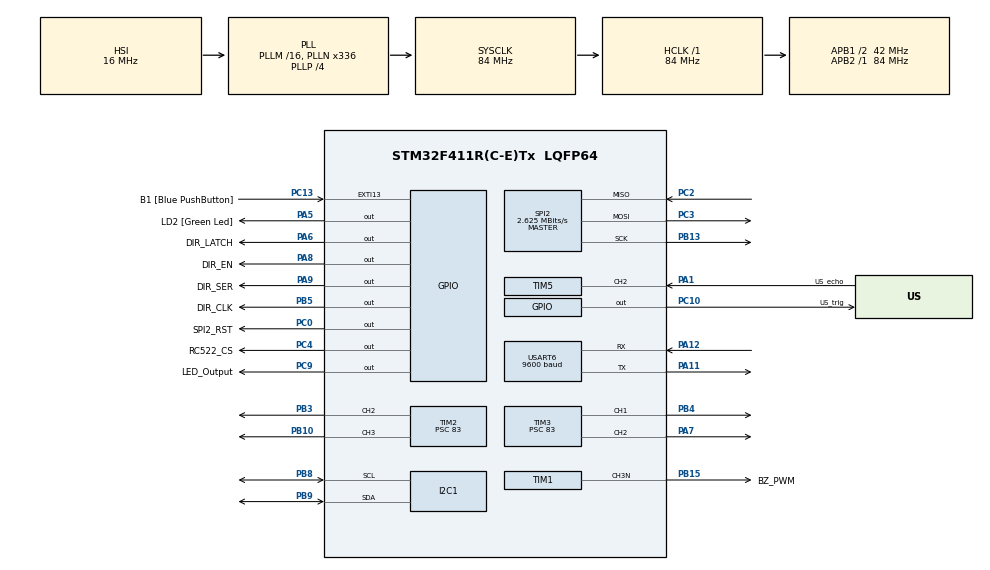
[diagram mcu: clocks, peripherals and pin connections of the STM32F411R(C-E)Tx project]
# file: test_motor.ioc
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Mcu.Family=STM32F4
Mcu.Name=STM32F411R(C-E)Tx
Mcu.Package=LQFP64
NVIC.PriorityGroup=NVIC_PRIORITYGROUP_0
NVIC.TIM2_IRQn=true\:0\:0\:false\:false\:true\:true\:true\:true
NVIC.TIM3_IRQn=true\:0\:0\:false\:false\:true\:true\:true\:true
NVIC.TIM5_IRQn=true\:0\:0\:false\:false\:true\:true\:true\:true
NVIC.USART6_IRQn=true\:0\:0\:false\:false\:true\:true\:true\:true
PA1.GPIO_Label=US_echo
PA1.Signal=S_TIM5_CH2
PA11.Mode=Asynchronous
PA11.Signal=USART6_TX
PA12.Mode=Asynchronous
PA12.Signal=USART6_RX
PA13.GPIO_Label=TMS
PA13.Mode=Serial_Wire
PA13.Signal=SYS_JTMS-SWDIO
PA14.GPIO_Label=TCK
PA14.Mode=Serial_Wire
PA14.Signal=SYS_JTCK-SWCLK
PA5.GPIO_Label=LD2 [Green Led]
PA5.Signal=GPIO_Output
PA6.GPIO_Label=DIR_LATCH
PA6.Signal=GPIO_Output
PA7.Signal=S_TIM3_CH2
PA8.GPIO_Label=DIR_EN
PA8.Signal=GPIO_Output
PA9.GPIO_Label=DIR_SER
PA9.Signal=GPIO_Output
PB10.Signal=S_TIM2_CH3
PB13.Mode=Full_Duplex_Master
PB13.Signal=SPI2_SCK
PB15.GPIO_Label=BZ_PWM
PB15.Mode=PWM Generation3 CH3N
PB15.Signal=TIM1_CH3N
PB3.Signal=S_TIM2_CH2
PB4.Signal=S_TIM3_CH1
PB5.GPIO_Label=DIR_CLK
PB5.Signal=GPIO_Output
PB8.Mode=I2C
PB8.Signal=I2C1_SCL
PB9.Mode=I2C
PB9.Signal=I2C1_SDA
PC0.GPIO_Label=SPI2_RST
PC0.Signal=GPIO_Output
PC10.GPIO_Label=US_trig
PC10.Signal=GPIO_Output
PC13-ANTI_TAMP.GPIO_Label=B1 [Blue PushButton]
PC13-ANTI_TAMP.GPIO_ModeDefaultEXTI=GPIO_MODE_IT_FALLING
PC13-ANTI_TAMP.Signal=GPXTI13
PC14-OSC32_IN.Mode=LSE-External-Oscillator
PC14-OSC32_IN.Signal=RCC_OSC32_IN
PC15-OSC32_OUT.Mode=LSE-External-Oscillator
PC15-OSC32_OUT.Signal=RCC_OSC32_OUT
PC2.Mode=Full_Duplex_Master
PC2.Signal=SPI2_MISO
PC3.Mode=Full_Duplex_Master
PC3.Signal=SPI2_MOSI
PC4.GPIO_Label=RC522_CS
PC4.Signal=GPIO_Output
PC9.GPIO_Label=LED_Output
PC9.Signal=GPIO_Output
PH0\ -\ OSC_IN.Mode=HSE-External-Clock-Source
PH0\ -\ OSC_IN.Signal=RCC_OSC_IN
PH1\ -\ OSC_OUT.Mode=HSE-External-Clock-Source
PH1\ -\ OSC_OUT.Signal=RCC_OSC_OUT
ProjectManager.HeapSize=0x200
ProjectManager.StackSize=0x400
ProjectManager.TargetToolchain=STM32CubeIDE
RCC.48MHZClocksFreq_Value=84000000
RCC.AHBFreq_Value=84000000
RCC.APB1CLKDivider=RCC_HCLK_DIV2
RCC.APB1Freq_Value=42000000
RCC.APB1TimFreq_Value=84000000
RCC.APB2Freq_Value=84000000
RCC.APB2TimFreq_Value=84000000
RCC.CortexFreq_Value=84000000
RCC.FLatency-AdvancedSettings=FLASH_LATENCY_2
RCC.HCLKFreq_Value=84000000
RCC.HSE_VALUE=8000000
RCC.HSI_VALUE=16000000
RCC.PLLN=336
RCC.PLLP=RCC_PLLP_DIV4
RCC.SYSCLKFreq_VALUE=84000000
RCC.SYSCLKSource=RCC_SYSCLKSOURCE_PLLCLK
RCC.VCOOutputFreq_Value=336000000
SH.S_TIM2_CH2.0=TIM2_CH2,PWM Generation2 CH2
SH.S_TIM2_CH3.0=TIM2_CH3,PWM Generation3 CH3
SH.S_TIM3_CH1.0=TIM3_CH1,PWM Generation1 CH1
SH.S_TIM3_CH2.0=TIM3_CH2,PWM Generation2 CH2
SH.S_TIM5_CH2.0=TIM5_CH2,Input_Capture2_from_TI2
SPI2.BaudRatePrescaler=SPI_BAUDRATEPRESCALER_16
SPI2.CalculateBaudRate=2.625 MBits/s
SPI2.Direction=SPI_DIRECTION_2LINES
SPI2.Mode=SPI_MODE_MASTER
SPI2.VirtualType=VM_MASTER
TIM1.Channel-PWM\ Generation3\ CH3N=TIM_CHANNEL_3
TIM1.Period=999
TIM1.Prescaler=83
TIM1.Pulse-PWM\ Generation3\ CH3N=950
TIM2.Channel-PWM\ Generation2\ CH2=TIM_CHANNEL_2
TIM2.Channel-PWM\ Generation3\ CH3=TIM_CHANNEL_3
TIM2.Period=49
TIM2.Prescaler=83
TIM3.Channel-PWM\ Generation1\ CH1=TIM_CHANNEL_1
TIM3.Channel-PWM\ Generation2\ CH2=TIM_CHANNEL_2
TIM3.Period=49
TIM3.Prescaler=83
TIM5.Channel-Input_Capture2_from_TI2=TIM_CHANNEL_2
TIM5.Period=0xFFFFFFFF
TIM5.Prescaler=83
USART6.BaudRate=9600
USART6.VirtualMode=VM_ASYNC
VP_TIM5_VS_ClockSourceINT.Mode=Internal
board=NUCLEO-F411RE

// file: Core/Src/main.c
/* USER CODE BEGIN Header */
/**
  ******************************************************************************
  * @file           : main.c
  * @brief          : Main program body
  ******************************************************************************
  * @attention
  *
  * Copyright (c) 2026 STMicroelectronics.
  * All rights reserved.
  *
  * This software is licensed under terms that can be found in the LICENSE file
  * in the root directory of this software component.
  * If no LICENSE file comes with this software, it is provided AS-IS.
  *
  ******************************************************************************
  */
/* USER CODE END Header */
#include "main.h"

/* USER CODE BEGIN Includes */
#include <stdbool.h>
#include <stdio.h>
#include "01_motor_controller.h"
#include "02_ultrasound_wave.h"
#include "03_LCD_controller.h"
#include "04_rfid_rc522.h"

#include <string.h>

/* USER CODE END Includes */

I2C_HandleTypeDef hi2c1;

SPI_HandleTypeDef hspi2;

TIM_HandleTypeDef htim1;
TIM_HandleTypeDef htim2;
TIM_HandleTypeDef htim3;
TIM_HandleTypeDef htim5;

UART_HandleTypeDef huart6;

void SystemClock_Config(void);
static void MX_GPIO_Init(void);
static void MX_TIM3_Init(void);
static void MX_USART6_UART_Init(void);
static void MX_TIM2_Init(void);
static void MX_I2C1_Init(void);
static void MX_TIM5_Init(void);
static void MX_TIM1_Init(void);
static void MX_SPI2_Init(void);

/* USER CODE BEGIN 0 */
typedef enum { STATE_LOCKED, STATE_UNLOCKED } SystemState;
volatile SystemState current_state = STATE_LOCKED;
volatile uint8_t rx;
/*
 * 블루투스로 dc_motor 제어
 */
void HAL_UART_RxCpltCallback(UART_HandleTypeDef *huart)
{
	if (huart->Instance == USART6)
	{
		if (current_state == STATE_LOCKED) {
			cmd_stop();
		}
		else {
			if (obstacle_flag && (rx == 'F' || rx == 'G' || rx == 'H'))
			{
				cmd_stop();
			}
			else {
				switch(rx)
				{
					case 'F' : cmd_forward();       break;
					case 'B' : cmd_back();          break;
					case 'R' : cmd_right();         break;
					case 'L' : cmd_left();          break;
					case 'G' : cmd_forward_left();  break;
					case 'H' : cmd_forward_right(); break;
					case 'I' : cmd_back_left();     break;
					case 'J' : cmd_back_right();    break;
					case 'S' : cmd_stop();          break;
				}
			}
		}

		HAL_UART_Receive_IT(&huart6, (uint8_t *)&rx, 1);
	}
}

void HAL_TIM_IC_CaptureCallback(TIM_HandleTypeDef *htim)
{
	if (htim -> Instance == TIM5) {
		ultrasound_callback(htim);
	}
}

/* USER CODE END 0 */

int main(void)
{

  /* MCU Configuration--------------------------------------------------------*/

  /* Reset of all peripherals, Initializes the Flash interface and the Systick. */
  HAL_Init();

  /* Configure the system clock */
  SystemClock_Config();

  /* Initialize all configured peripherals */
  MX_GPIO_Init();
  MX_TIM3_Init();
  MX_USART6_UART_Init();
  MX_TIM2_Init();
  MX_I2C1_Init();
  MX_TIM5_Init();
  MX_TIM1_Init();
  MX_SPI2_Init();
  /* USER CODE BEGIN 2 */
  // PWM 시작
  HAL_TIM_PWM_Start(&htim2, TIM_CHANNEL_3); // PB10 TIM2_CH3 왼쪽 바퀴
  HAL_TIM_PWM_Start(&htim3, TIM_CHANNEL_1); // PB4  TIM3_CH1 왼쪽 바퀴
  HAL_TIM_PWM_Start(&htim3, TIM_CHANNEL_2); // PA7  TIM3_CH2 오른쪽 바퀴
	HAL_TIM_PWM_Start(&htim2, TIM_CHANNEL_2); // PB3  TIM2_CH2 오른쪽 바퀴

	HAL_TIM_IC_Start_IT(&htim5, TIM_CHANNEL_2);	// 초음파 echo 인터럽트 시작

	HAL_UART_Receive_IT(&huart6, (uint8_t *)&rx, 1);

	lcd_init();

	MFRC522_Init();

  /* USER CODE END 2 */

  /* Infinite loop */
  /* USER CODE BEGIN WHILE */
	char lcd_buf[20];
	uint8_t my_card_uid[4] = {0x04, 0x00, 0x00, 0x00}; // 카드 키
	char last_id_str[20] = "ID: NONE        ";

	// 시작 시 초기 화면 표시
	lcd_clear();
	lcd_put_cur(0, 0);
	lcd_send_string(" SYSTEM READY  ");
	HAL_Delay(1000);

	while (1)
	{
		uint32_t now = HAL_GetTick();

		// 1. RFID 체크
		uint8_t card_id[5];
		if (MFRC522_Check(card_id) == HAL_OK) {
			sprintf(last_id_str, "ID:%02X%02X%02X%02X     ", card_id[0], card_id[1], card_id[2], card_id[3]);

			if (memcmp(card_id, my_card_uid, 4) == 0) {
				// 일치하면 토글 로직 실행
				if (current_state == STATE_LOCKED) {
					current_state = STATE_UNLOCKED;
					lcd_clear();
					lcd_put_cur(0, 0); lcd_send_string("  UNLOCKED!   ");
					lcd_put_cur(1, 0); lcd_send_string("  WELCOME SIR  ");
				} else {
					current_state = STATE_LOCKED;
					cmd_stop();
					lcd_clear();
					lcd_put_cur(0, 0); lcd_send_string("  SYSTEM LOCKED ");
					lcd_put_cur(1, 0); lcd_send_string("  SAFE MODE ON  ");
				}
				HAL_Delay(2000);
				lcd_clear();
			}
		}

		// 2. 초음파 센서 (해제 상태에서만 작동)
		if (current_state == STATE_UNLOCKED) {
			static uint32_t last_trig_time = 0;
			if (now - last_trig_time >= 100) {
				ultrasound_trigger();
				last_trig_time = now;
			}
		} else {
			distance = 999;
			obstacle_flag = 0;
		}

		// 3. LCD 업데이트 (200ms 주기로 상태 표시)
		static uint32_t last_lcd_time = 0;
		if (now - last_lcd_time >= 200) {
			last_lcd_time = now;

			if (current_state == STATE_LOCKED) {
				lcd_put_cur(0, 0); lcd_send_string(" [SYSTEM LOCKED]");
				lcd_put_cur(1, 0);
				lcd_send_string(last_id_str);
			}
			else {
				// 해제 상태 화면 (조종/장애물 정보)
				lcd_put_cur(0, 0);
				if (obstacle_flag) {
					lcd_send_string("STOP! OBSTACLE  ");
				} else {
					lcd_send_string("DRIVING MODE    ");
				}
				sprintf(lcd_buf, "Dist:%3dcm %s", (int)distance, obstacle_flag ? "[!!]" : "[OK]");
				lcd_put_cur(1, 0);
				lcd_send_string(lcd_buf);
			}
		}
		/* USER CODE END WHILE */

  }
}

void SystemClock_Config(void)
{
  RCC_OscInitTypeDef RCC_OscInitStruct = {0};
  RCC_ClkInitTypeDef RCC_ClkInitStruct = {0};

  /** Configure the main internal regulator output voltage
  */
  __HAL_RCC_PWR_CLK_ENABLE();
  __HAL_PWR_VOLTAGESCALING_CONFIG(PWR_REGULATOR_VOLTAGE_SCALE1);

  /** Initializes the RCC Oscillators according to the specified parameters
  * in the RCC_OscInitTypeDef structure.
  */
  RCC_OscInitStruct.OscillatorType = RCC_OSCILLATORTYPE_HSI;
  RCC_OscInitStruct.HSIState = RCC_HSI_ON;
  RCC_OscInitStruct.HSICalibrationValue = RCC_HSICALIBRATION_DEFAULT;
  RCC_OscInitStruct.PLL.PLLState = RCC_PLL_ON;
  RCC_OscInitStruct.PLL.PLLSource = RCC_PLLSOURCE_HSI;
  RCC_OscInitStruct.PLL.PLLM = 16;
  RCC_OscInitStruct.PLL.PLLN = 336;
  RCC_OscInitStruct.PLL.PLLP = RCC_PLLP_DIV4;
  RCC_OscInitStruct.PLL.PLLQ = 4;
  if (HAL_RCC_OscConfig(&RCC_OscInitStruct) != HAL_OK)
  {
    Error_Handler();
  }

  /** Initializes the CPU, AHB and APB buses clocks
  */
  RCC_ClkInitStruct.ClockType = RCC_CLOCKTYPE_HCLK|RCC_CLOCKTYPE_SYSCLK
                              |RCC_CLOCKTYPE_PCLK1|RCC_CLOCKTYPE_PCLK2;
  RCC_ClkInitStruct.SYSCLKSource = RCC_SYSCLKSOURCE_PLLCLK;
  RCC_ClkInitStruct.AHBCLKDivider = RCC_SYSCLK_DIV1;
  RCC_ClkInitStruct.APB1CLKDivider = RCC_HCLK_DIV2;
  RCC_ClkInitStruct.APB2CLKDivider = RCC_HCLK_DIV1;

  if (HAL_RCC_ClockConfig(&RCC_ClkInitStruct, FLASH_LATENCY_2) != HAL_OK)
  {
    Error_Handler();
  }
}

static void MX_I2C1_Init(void)
{

  hi2c1.Instance = I2C1;
  hi2c1.Init.ClockSpeed = 100000;
  hi2c1.Init.DutyCycle = I2C_DUTYCYCLE_2;
  hi2c1.Init.OwnAddress1 = 0;
  hi2c1.Init.AddressingMode = I2C_ADDRESSINGMODE_7BIT;
  hi2c1.Init.DualAddressMode = I2C_DUALADDRESS_DISABLE;
  hi2c1.Init.OwnAddress2 = 0;
  hi2c1.Init.GeneralCallMode = I2C_GENERALCALL_DISABLE;
  hi2c1.Init.NoStretchMode = I2C_NOSTRETCH_DISABLE;
  if (HAL_I2C_Init(&hi2c1) != HAL_OK)
  {
    Error_Handler();
  }

}

static void MX_SPI2_Init(void)
{

  /* SPI2 parameter configuration*/
  hspi2.Instance = SPI2;
  hspi2.Init.Mode = SPI_MODE_MASTER;
  hspi2.Init.Direction = SPI_DIRECTION_2LINES;
  hspi2.Init.DataSize = SPI_DATASIZE_8BIT;
  hspi2.Init.CLKPolarity = SPI_POLARITY_LOW;
  hspi2.Init.CLKPhase = SPI_PHASE_1EDGE;
  hspi2.Init.NSS = SPI_NSS_SOFT;
  hspi2.Init.BaudRatePrescaler = SPI_BAUDRATEPRESCALER_16;
  hspi2.Init.FirstBit = SPI_FIRSTBIT_MSB;
  hspi2.Init.TIMode = SPI_TIMODE_DISABLE;
  hspi2.Init.CRCCalculation = SPI_CRCCALCULATION_DISABLE;
  hspi2.Init.CRCPolynomial = 10;
  if (HAL_SPI_Init(&hspi2) != HAL_OK)
  {
    Error_Handler();
  }

}

static void MX_TIM1_Init(void)
{

  TIM_MasterConfigTypeDef sMasterConfig = {0};
  TIM_OC_InitTypeDef sConfigOC = {0};
  TIM_BreakDeadTimeConfigTypeDef sBreakDeadTimeConfig = {0};

  htim1.Instance = TIM1;
  htim1.Init.Prescaler = 83;
  htim1.Init.CounterMode = TIM_COUNTERMODE_UP;
  htim1.Init.Period = 999;
  htim1.Init.ClockDivision = TIM_CLOCKDIVISION_DIV1;
  htim1.Init.RepetitionCounter = 0;
  htim1.Init.AutoReloadPreload = TIM_AUTORELOAD_PRELOAD_DISABLE;
  if (HAL_TIM_PWM_Init(&htim1) != HAL_OK)
  {
    Error_Handler();
  }
  sMasterConfig.MasterOutputTrigger = TIM_TRGO_RESET;
  sMasterConfig.MasterSlaveMode = TIM_MASTERSLAVEMODE_DISABLE;
  if (HAL_TIMEx_MasterConfigSynchronization(&htim1, &sMasterConfig) != HAL_OK)
  {
    Error_Handler();
  }
  sConfigOC.OCMode = TIM_OCMODE_PWM1;
  sConfigOC.Pulse = 950;
  sConfigOC.OCPolarity = TIM_OCPOLARITY_HIGH;
  sConfigOC.OCNPolarity = TIM_OCNPOLARITY_HIGH;
  sConfigOC.OCFastMode = TIM_OCFAST_DISABLE;
  sConfigOC.OCIdleState = TIM_OCIDLESTATE_RESET;
  sConfigOC.OCNIdleState = TIM_OCNIDLESTATE_RESET;
  if (HAL_TIM_PWM_ConfigChannel(&htim1, &sConfigOC, TIM_CHANNEL_3) != HAL_OK)
  {
    Error_Handler();
  }
  sBreakDeadTimeConfig.OffStateRunMode = TIM_OSSR_DISABLE;
  sBreakDeadTimeConfig.OffStateIDLEMode = TIM_OSSI_DISABLE;
  sBreakDeadTimeConfig.LockLevel = TIM_LOCKLEVEL_OFF;
  sBreakDeadTimeConfig.DeadTime = 0;
  sBreakDeadTimeConfig.BreakState = TIM_BREAK_DISABLE;
  sBreakDeadTimeConfig.BreakPolarity = TIM_BREAKPOLARITY_HIGH;
  sBreakDeadTimeConfig.AutomaticOutput = TIM_AUTOMATICOUTPUT_DISABLE;
  if (HAL_TIMEx_ConfigBreakDeadTime(&htim1, &sBreakDeadTimeConfig) != HAL_OK)
  {
    Error_Handler();
  }
  HAL_TIM_MspPostInit(&htim1);

}

static void MX_TIM2_Init(void)
{

  TIM_MasterConfigTypeDef sMasterConfig = {0};
  TIM_OC_InitTypeDef sConfigOC = {0};

  htim2.Instance = TIM2;
  htim2.Init.Prescaler = 83;
  htim2.Init.CounterMode = TIM_COUNTERMODE_UP;
  htim2.Init.Period = 49;
  htim2.Init.ClockDivision = TIM_CLOCKDIVISION_DIV1;
  htim2.Init.AutoReloadPreload = TIM_AUTORELOAD_PRELOAD_DISABLE;
  if (HAL_TIM_PWM_Init(&htim2) != HAL_OK)
  {
    Error_Handler();
  }
  sMasterConfig.MasterOutputTrigger = TIM_TRGO_RESET;
  sMasterConfig.MasterSlaveMode = TIM_MASTERSLAVEMODE_DISABLE;
  if (HAL_TIMEx_MasterConfigSynchronization(&htim2, &sMasterConfig) != HAL_OK)
  {
    Error_Handler();
  }
  sConfigOC.OCMode = TIM_OCMODE_PWM1;
  sConfigOC.Pulse = 0;
  sConfigOC.OCPolarity = TIM_OCPOLARITY_HIGH;
  sConfigOC.OCFastMode = TIM_OCFAST_DISABLE;
  if (HAL_TIM_PWM_ConfigChannel(&htim2, &sConfigOC, TIM_CHANNEL_2) != HAL_OK)
  {
    Error_Handler();
  }
  if (HAL_TIM_PWM_ConfigChannel(&htim2, &sConfigOC, TIM_CHANNEL_3) != HAL_OK)
  {
    Error_Handler();
  }
  HAL_TIM_MspPostInit(&htim2);

}

static void MX_TIM3_Init(void)
{

  TIM_MasterConfigTypeDef sMasterConfig = {0};
  TIM_OC_InitTypeDef sConfigOC = {0};

  htim3.Instance = TIM3;
  htim3.Init.Prescaler = 83;
  htim3.Init.CounterMode = TIM_COUNTERMODE_UP;
  htim3.Init.Period = 49;
  htim3.Init.ClockDivision = TIM_CLOCKDIVISION_DIV1;
  htim3.Init.AutoReloadPreload = TIM_AUTORELOAD_PRELOAD_DISABLE;
  if (HAL_TIM_PWM_Init(&htim3) != HAL_OK)
  {
    Error_Handler();
  }
  sMasterConfig.MasterOutputTrigger = TIM_TRGO_RESET;
  sMasterConfig.MasterSlaveMode = TIM_MASTERSLAVEMODE_DISABLE;
  if (HAL_TIMEx_MasterConfigSynchronization(&htim3, &sMasterConfig) != HAL_OK)
  {
    Error_Handler();
  }
  sConfigOC.OCMode = TIM_OCMODE_PWM1;
  sConfigOC.Pulse = 0;
  sConfigOC.OCPolarity = TIM_OCPOLARITY_HIGH;
  sConfigOC.OCFastMode = TIM_OCFAST_DISABLE;
  if (HAL_TIM_PWM_ConfigChannel(&htim3, &sConfigOC, TIM_CHANNEL_1) != HAL_OK)
  {
    Error_Handler();
  }
  if (HAL_TIM_PWM_ConfigChannel(&htim3, &sConfigOC, TIM_CHANNEL_2) != HAL_OK)
  {
    Error_Handler();
  }
  HAL_TIM_MspPostInit(&htim3);

}

static void MX_TIM5_Init(void)
{

  TIM_ClockConfigTypeDef sClockSourceConfig = {0};
  TIM_MasterConfigTypeDef sMasterConfig = {0};
  TIM_IC_InitTypeDef sConfigIC = {0};

  htim5.Instance = TIM5;
  htim5.Init.Prescaler = 83;
  htim5.Init.CounterMode = TIM_COUNTERMODE_UP;
  htim5.Init.Period = 0xFFFFFFFF;
  htim5.Init.ClockDivision = TIM_CLOCKDIVISION_DIV1;
  htim5.Init.AutoReloadPreload = TIM_AUTORELOAD_PRELOAD_DISABLE;
  if (HAL_TIM_Base_Init(&htim5) != HAL_OK)
  {
    Error_Handler();
  }
  sClockSourceConfig.ClockSource = TIM_CLOCKSOURCE_INTERNAL;
  if (HAL_TIM_ConfigClockSource(&htim5, &sClockSourceConfig) != HAL_OK)
  {
    Error_Handler();
  }
  if (HAL_TIM_IC_Init(&htim5) != HAL_OK)
  {
    Error_Handler();
  }
  sMasterConfig.MasterOutputTrigger = TIM_TRGO_RESET;
  sMasterConfig.MasterSlaveMode = TIM_MASTERSLAVEMODE_DISABLE;
  if (HAL_TIMEx_MasterConfigSynchronization(&htim5, &sMasterConfig) != HAL_OK)
  {
    Error_Handler();
  }
  sConfigIC.ICPolarity = TIM_INPUTCHANNELPOLARITY_RISING;
  sConfigIC.ICSelection = TIM_ICSELECTION_DIRECTTI;
  sConfigIC.ICPrescaler = TIM_ICPSC_DIV1;
  sConfigIC.ICFilter = 0;
  if (HAL_TIM_IC_ConfigChannel(&htim5, &sConfigIC, TIM_CHANNEL_2) != HAL_OK)
  {
    Error_Handler();
  }

}

static void MX_USART6_UART_Init(void)
{

  huart6.Instance = USART6;
  huart6.Init.BaudRate = 9600;
  huart6.Init.WordLength = UART_WORDLENGTH_8B;
  huart6.Init.StopBits = UART_STOPBITS_1;
  huart6.Init.Parity = UART_PARITY_NONE;
  huart6.Init.Mode = UART_MODE_TX_RX;
  huart6.Init.HwFlowCtl = UART_HWCONTROL_NONE;
  huart6.Init.OverSampling = UART_OVERSAMPLING_16;
  if (HAL_UART_Init(&huart6) != HAL_OK)
  {
    Error_Handler();
  }

}

static void MX_GPIO_Init(void)
{
  GPIO_InitTypeDef GPIO_InitStruct = {0};

  /* GPIO Ports Clock Enable */
  __HAL_RCC_GPIOC_CLK_ENABLE();
  __HAL_RCC_GPIOH_CLK_ENABLE();
  __HAL_RCC_GPIOA_CLK_ENABLE();
  __HAL_RCC_GPIOB_CLK_ENABLE();

  /*Configure GPIO pin Output Level */
  HAL_GPIO_WritePin(GPIOC, SPI2_RST_Pin|RC522_CS_Pin|LED_Output_Pin|US_trig_Pin, GPIO_PIN_RESET);

  /*Configure GPIO pin Output Level */
  HAL_GPIO_WritePin(GPIOA, LD2_Pin|DIR_LATCH_Pin|DIR_EN_Pin|DIR_SER_Pin, GPIO_PIN_RESET);

  /*Configure GPIO pin Output Level */
  HAL_GPIO_WritePin(DIR_CLK_GPIO_Port, DIR_CLK_Pin, GPIO_PIN_RESET);

  /*Configure GPIO pin : B1_Pin */
  GPIO_InitStruct.Pin = B1_Pin;
  GPIO_InitStruct.Mode = GPIO_MODE_IT_FALLING;
  GPIO_InitStruct.Pull = GPIO_NOPULL;
  HAL_GPIO_Init(B1_GPIO_Port, &GPIO_InitStruct);

  /*Configure GPIO pins : SPI2_RST_Pin RC522_CS_Pin LED_Output_Pin US_trig_Pin */
  GPIO_InitStruct.Pin = SPI2_RST_Pin|RC522_CS_Pin|LED_Output_Pin|US_trig_Pin;
  GPIO_InitStruct.Mode = GPIO_MODE_OUTPUT_PP;
  GPIO_InitStruct.Pull = GPIO_NOPULL;
  GPIO_InitStruct.Speed = GPIO_SPEED_FREQ_LOW;
  HAL_GPIO_Init(GPIOC, &GPIO_InitStruct);

  /*Configure GPIO pins : LD2_Pin DIR_LATCH_Pin DIR_EN_Pin DIR_SER_Pin */
  GPIO_InitStruct.Pin = LD2_Pin|DIR_LATCH_Pin|DIR_EN_Pin|DIR_SER_Pin;
  GPIO_InitStruct.Mode = GPIO_MODE_OUTPUT_PP;
  GPIO_InitStruct.Pull = GPIO_NOPULL;
  GPIO_InitStruct.Speed = GPIO_SPEED_FREQ_LOW;
  HAL_GPIO_Init(GPIOA, &GPIO_InitStruct);

  /*Configure GPIO pin : DIR_CLK_Pin */
  GPIO_InitStruct.Pin = DIR_CLK_Pin;
  GPIO_InitStruct.Mode = GPIO_MODE_OUTPUT_PP;
  GPIO_InitStruct.Pull = GPIO_NOPULL;
  GPIO_InitStruct.Speed = GPIO_SPEED_FREQ_LOW;
  HAL_GPIO_Init(DIR_CLK_GPIO_Port, &GPIO_InitStruct);

  /* USER CODE BEGIN MX_GPIO_Init_2 */
  /* PA11 PA12 for USART6 */
  GPIO_InitStruct.Pin = GPIO_PIN_11 | GPIO_PIN_12;
  GPIO_InitStruct.Mode = GPIO_MODE_AF_PP;
  GPIO_InitStruct.Pull = GPIO_NOPULL;
  GPIO_InitStruct.Speed = GPIO_SPEED_FREQ_VERY_HIGH;
  GPIO_InitStruct.Alternate = GPIO_AF8_USART6;
  HAL_GPIO_Init(GPIOA, &GPIO_InitStruct);

  /* USER CODE END MX_GPIO_Init_2 */
}

void Error_Handler(void)
{
  __disable_irq();
  while (1)
  {
  }
}
